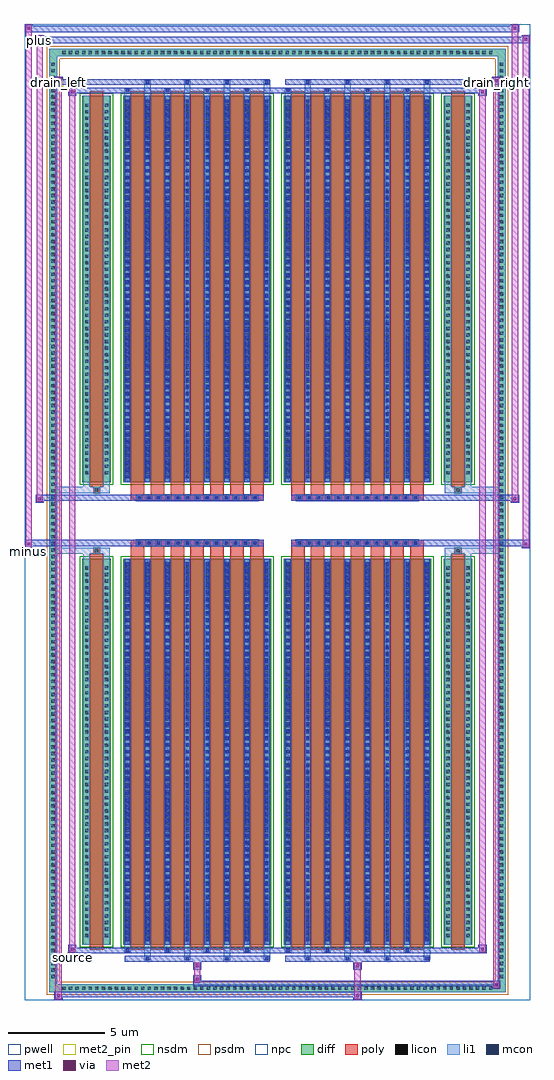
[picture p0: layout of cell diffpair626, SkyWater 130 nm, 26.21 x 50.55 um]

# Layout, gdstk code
import gdstk
lib = gdstk.Library(unit=1e-6, precision=5e-09)
def R(c, l, rs):  # rectangles x0, y0, x1, y1
    for r in rs: c.add(gdstk.rectangle(r[:2], r[2:], *l))
def A(c, l, x, y, w, h, nx, ny, dx, dy):  # array of equal rectangles
    R(c, l, [(x+i*dx, y+j*dy, x+i*dx+w, y+j*dy+h) for i in range(nx) for j in range(ny)])
def P(c, l, *ps):  # polygons
    for p in ps: c.add(gdstk.Polygon(p, *l))
pwell = (64, 44)
diff = (65, 20)
poly = (66, 20)
licon = (66, 44)
li1 = (67, 20)
mcon = (67, 44)
met1 = (68, 20)
via = (68, 44)
met2_pin = (69, 16)
met2 = (69, 20)
nsdm = (93, 44)
psdm = (94, 20)
npc = (95, 20)

diffpair626 = lib.new_cell('diffpair626')
R(diffpair626, pwell, [(-13.09,-24.84,13.09,25.71), (-10.41,-23.03,-0.01,-0.805), (0.01,-23.03,10.41,-0.805), (-10.41,0.805,-0.01,23.03), (0.01,0.805,10.41,23.03)])
A(diffpair626, diff, -11.255, -24.44, 0.41, 0.41, 66, 2, 0.34, 48.47)
A(diffpair626, diff, -11.82, -23.835, 0.41, 0.41, 1, 140, 0, 0.34)
A(diffpair626, diff, 11.41, -23.835, 0.41, 0.41, 1, 140, 0, 0.34)
R(diffpair626, diff, [(-11.255,-24.44,11.255,-24.03), (-11.82,-23.835,-11.41,23.835), (11.41,-23.835,11.82,23.835), (-10.1,-21.985,-8.62,-1.985), (-7.98,-21.985,-0.32,-1.985), (0.32,-21.985,7.98,-1.985), (8.62,-21.985,10.1,-1.985), (-10.1,1.985,-8.62,21.985), (-7.98,1.985,-0.32,21.985), (0.32,1.985,7.98,21.985), (8.62,1.985,10.1,21.985), (-11.255,24.03,11.255,24.44)])
P(diffpair626, diff, [(11.82,24.44),(-11.82,24.44),(-11.82,-24.03),(-11.41,-24.03),(-11.41,24.03),(11.41,24.03),(11.41,-24.03),(-11.41,-24.03),(-11.82,-24.03),(-11.82,-24.44),(11.82,-24.44)])
A(diffpair626, poly, -7.59, -22.235, 0.7, 20.5, 7, 2, 1.03, 23.97)
A(diffpair626, poly, 0.71, -22.235, 0.7, 20.5, 7, 2, 1.03, 23.97)
A(diffpair626, poly, -7.59, -1.735, 0.7, 0.4, 7, 2, 1.03, 3.07)
A(diffpair626, poly, 0.71, -1.735, 0.7, 0.4, 7, 2, 1.03, 3.07)
A(diffpair626, poly, -7.315, -1.335, 0.33, 0.33, 13, 2, 0.5, 2.34)
A(diffpair626, poly, 0.985, -1.335, 0.33, 0.33, 13, 2, 0.5, 2.34)
R(diffpair626, poly, [(-9.71,-22.235,-9.01,-1.735), (9.01,-22.235,9.71,-1.735), (-9.525,-1.735,-9.195,-1.405), (-9.525,-1.735,-9.195,-1.405), (9.195,-1.735,9.525,-1.405), (9.195,-1.735,9.525,-1.405), (-7.59,-1.335,-0.71,-1.005), (0.71,-1.335,7.59,-1.005), (-7.59,1.005,-0.71,1.335), (0.71,1.005,7.59,1.335), (-9.525,1.405,-9.195,1.735), (-9.525,1.405,-9.195,1.735), (9.195,1.405,9.525,1.735), (9.195,1.405,9.525,1.735), (-9.71,1.735,-9.01,22.235), (9.01,1.735,9.71,22.235)])
A(diffpair626, licon, -11.135, -24.32, 0.17, 0.17, 66, 2, 0.34, 48.47)
A(diffpair626, licon, -11.7, -23.715, 0.17, 0.17, 1, 140, 0, 0.34)
A(diffpair626, licon, 11.53, -23.715, 0.17, 0.17, 1, 140, 0, 0.34)
A(diffpair626, licon, -9.96, -21.59, 0.17, 0.17, 1, 57, 0, 0.34)
A(diffpair626, licon, -8.93, -21.59, 0.17, 0.17, 1, 57, 0, 0.34)
A(diffpair626, licon, -7.84, -21.59, 0.17, 0.17, 8, 57, 1.03, 0.34)
A(diffpair626, licon, 0.46, -21.59, 0.17, 0.17, 8, 57, 1.03, 0.34)
A(diffpair626, licon, 8.76, -21.59, 0.17, 0.17, 1, 57, 0, 0.34)
A(diffpair626, licon, 9.79, -21.59, 0.17, 0.17, 1, 57, 0, 0.34)
A(diffpair626, licon, -7.235, -1.255, 0.17, 0.17, 13, 2, 0.5, 2.34)
A(diffpair626, licon, 1.065, -1.255, 0.17, 0.17, 13, 2, 0.5, 2.34)
A(diffpair626, licon, -9.96, 2.38, 0.17, 0.17, 1, 57, 0, 0.34)
A(diffpair626, licon, -8.93, 2.38, 0.17, 0.17, 1, 57, 0, 0.34)
A(diffpair626, licon, -7.84, 2.38, 0.17, 0.17, 8, 57, 1.03, 0.34)
A(diffpair626, licon, 0.46, 2.38, 0.17, 0.17, 8, 57, 1.03, 0.34)
A(diffpair626, licon, 8.76, 2.38, 0.17, 0.17, 1, 57, 0, 0.34)
A(diffpair626, licon, 9.79, 2.38, 0.17, 0.17, 1, 57, 0, 0.34)
R(diffpair626, licon, [(-9.445,-1.655,-9.275,-1.485), (9.275,-1.655,9.445,-1.485), (-9.445,1.485,-9.275,1.655), (9.275,1.485,9.445,1.655)])
A(diffpair626, li1, -11.215, -24.4, 0.33, 0.33, 66, 2, 0.34, 48.47)
A(diffpair626, li1, -11.78, -23.795, 0.33, 0.33, 1, 140, 0, 0.34)
A(diffpair626, li1, 11.45, -23.795, 0.33, 0.33, 1, 140, 0, 0.34)
A(diffpair626, li1, -6.89, -22.79, 0.33, 0.805, 4, 2, 2.06, 44.775)
A(diffpair626, li1, -6.81, -22.79, 0.17, 0.17, 4, 2, 2.06, 45.41)
A(diffpair626, li1, 1.41, -22.79, 0.33, 0.805, 4, 2, 2.06, 44.775)
A(diffpair626, li1, 1.49, -22.79, 0.17, 0.17, 4, 2, 2.06, 45.41)
A(diffpair626, li1, -7.92, -22.36, 0.33, 0.375, 4, 2, 2.06, 44.345)
A(diffpair626, li1, -7.84, -22.36, 0.17, 0.17, 4, 2, 2.06, 44.55)
A(diffpair626, li1, 0.38, -22.36, 0.33, 0.375, 4, 2, 2.06, 44.345)
A(diffpair626, li1, 0.46, -22.36, 0.17, 0.17, 4, 2, 2.06, 44.55)
A(diffpair626, li1, -7.92, -21.985, 0.33, 20, 8, 2, 1.03, 23.97)
A(diffpair626, li1, 0.38, -21.985, 0.33, 20, 8, 2, 1.03, 23.97)
A(diffpair626, li1, -7.84, -21.79, 0.17, 0.17, 8, 55, 1.03, 0.36)
A(diffpair626, li1, -7.84, -21.79, 0.17, 19.61, 8, 2, 1.03, 23.97)
A(diffpair626, li1, 0.46, -21.79, 0.17, 0.17, 8, 55, 1.03, 0.36)
A(diffpair626, li1, 0.46, -21.79, 0.17, 19.61, 8, 2, 1.03, 23.97)
A(diffpair626, li1, -10.04, -21.67, 0.33, 0.33, 1, 57, 0, 0.34)
A(diffpair626, li1, -9.01, -21.67, 0.33, 0.33, 1, 57, 0, 0.34)
A(diffpair626, li1, -7.92, -21.67, 0.33, 0.33, 8, 57, 1.03, 0.34)
A(diffpair626, li1, 0.38, -21.67, 0.33, 0.33, 8, 57, 1.03, 0.34)
A(diffpair626, li1, 8.68, -21.67, 0.33, 0.33, 1, 57, 0, 0.34)
A(diffpair626, li1, 9.71, -21.67, 0.33, 0.33, 1, 57, 0, 0.34)
A(diffpair626, li1, -7.315, -1.335, 0.33, 0.33, 13, 2, 0.5, 2.34)
A(diffpair626, li1, 0.985, -1.335, 0.33, 0.33, 13, 2, 0.5, 2.34)
A(diffpair626, li1, -7.84, 2.18, 0.17, 0.17, 8, 55, 1.03, 0.36)
A(diffpair626, li1, 0.46, 2.18, 0.17, 0.17, 8, 55, 1.03, 0.36)
A(diffpair626, li1, -10.04, 2.3, 0.33, 0.33, 1, 57, 0, 0.34)
A(diffpair626, li1, -9.01, 2.3, 0.33, 0.33, 1, 57, 0, 0.34)
A(diffpair626, li1, -7.92, 2.3, 0.33, 0.33, 8, 57, 1.03, 0.34)
A(diffpair626, li1, 0.38, 2.3, 0.33, 0.33, 8, 57, 1.03, 0.34)
A(diffpair626, li1, 8.68, 2.3, 0.33, 0.33, 1, 57, 0, 0.34)
A(diffpair626, li1, 9.71, 2.3, 0.33, 0.33, 1, 57, 0, 0.34)
R(diffpair626, li1, [(-11.82,-24.44,-11.41,-24.03), (-11.82,-24.44,-11.41,-24.03), (-11.41,-24.44,11.41,-24.03), (11.41,-24.44,11.82,-24.03), (11.41,-24.44,11.82,-24.03), (-11.82,-24.03,-11.41,24.03), (11.41,-24.03,11.82,24.03), (-10.04,-21.985,-9.71,-1.985), (-9.01,-21.985,-8.68,-1.985), (8.68,-21.985,9.01,-1.985), (9.71,-21.985,10.04,-1.985), (-10.04,-1.985,-9.71,-1.405), (-9.01,-1.985,-8.68,-1.405), (8.68,-1.985,9.01,-1.405), (9.71,-1.985,10.04,-1.405), (-11.82,-1.735,-9.525,-1.405), (-10.04,-1.735,-9.525,-1.405), (-9.525,-1.735,-9.195,-1.405), (-9.195,-1.735,-8.68,-1.405), (8.68,-1.735,9.195,-1.405), (9.195,-1.735,9.525,-1.405), (9.195,-1.735,11.82,-1.405), (9.525,-1.735,10.04,-1.405), (-11.82,1.405,-9.525,1.735), (-10.04,1.405,-9.525,1.735), (-10.04,1.405,-9.71,1.985), (-9.525,1.405,-9.195,1.735), (-9.195,1.405,-8.68,1.735), (-9.01,1.405,-8.68,1.985), (8.68,1.405,9.195,1.735), (8.68,1.405,9.01,1.985), (9.195,1.405,9.525,1.735), (9.195,1.405,11.82,1.735), (9.525,1.405,10.04,1.735), (9.71,1.405,10.04,1.985), (-10.04,1.985,-9.71,21.985), (-9.01,1.985,-8.68,21.985), (8.68,1.985,9.01,21.985), (9.71,1.985,10.04,21.985), (-11.82,24.03,-11.41,24.44), (-11.82,24.03,-11.41,24.44), (-11.41,24.03,11.41,24.44), (11.41,24.03,11.82,24.44), (11.41,24.03,11.82,24.44)])
A(diffpair626, mcon, -6.81, -22.79, 0.17, 0.17, 4, 2, 2.06, 45.41)
A(diffpair626, mcon, 1.49, -22.79, 0.17, 0.17, 4, 2, 2.06, 45.41)
A(diffpair626, mcon, -7.84, -22.36, 0.17, 0.17, 4, 2, 2.06, 44.55)
A(diffpair626, mcon, 0.46, -22.36, 0.17, 0.17, 4, 2, 2.06, 44.55)
A(diffpair626, mcon, -7.84, -21.79, 0.17, 0.17, 8, 55, 1.03, 0.36)
A(diffpair626, mcon, 0.46, -21.79, 0.17, 0.17, 8, 55, 1.03, 0.36)
A(diffpair626, mcon, -7.235, -1.255, 0.17, 0.17, 13, 2, 0.5, 2.34)
A(diffpair626, mcon, 1.065, -1.255, 0.17, 0.17, 13, 2, 0.5, 2.34)
A(diffpair626, mcon, -7.84, 2.18, 0.17, 0.17, 8, 55, 1.03, 0.36)
A(diffpair626, mcon, 0.46, 2.18, 0.17, 0.17, 8, 55, 1.03, 0.36)
A(diffpair626, met1, -6.87, -22.85, 0.29, 0.29, 4, 2, 2.06, 45.41)
A(diffpair626, met1, 1.43, -22.85, 0.29, 0.29, 4, 2, 2.06, 45.41)
A(diffpair626, met1, -7.9, -22.42, 0.29, 0.29, 4, 2, 2.06, 44.55)
A(diffpair626, met1, 0.4, -22.42, 0.29, 0.29, 4, 2, 2.06, 44.55)
A(diffpair626, met1, -7.9, -21.985, 0.29, 20, 8, 2, 1.03, 23.97)
A(diffpair626, met1, 0.4, -21.985, 0.29, 20, 8, 2, 1.03, 23.97)
A(diffpair626, met1, -7.9, -21.85, 0.29, 0.29, 8, 55, 1.03, 0.36)
A(diffpair626, met1, 0.4, -21.85, 0.29, 0.29, 8, 55, 1.03, 0.36)
A(diffpair626, met1, -7.295, -1.315, 0.29, 0.29, 13, 2, 0.5, 2.34)
A(diffpair626, met1, 1.005, -1.315, 0.29, 0.29, 13, 2, 0.5, 2.34)
A(diffpair626, met1, -7.9, 2.12, 0.29, 0.29, 8, 55, 1.03, 0.36)
A(diffpair626, met1, 0.4, 2.12, 0.29, 0.29, 8, 55, 1.03, 0.36)
R(diffpair626, met1, [(-11.55,-24.84,-11.12,-24.41), (3.935,-24.84,4.365,-24.41), (-11.55,-24.7,4.365,-24.41), (11.12,-24.27,11.55,-23.84), (-4.365,-24.13,11.55,-23.84), (-4.365,-23.99,-3.935,-23.56), (-4.365,-23.28,-3.935,-22.85), (3.935,-23.28,4.365,-22.85), (-7.9,-22.85,-0.4,-22.56), (0.4,-22.85,7.9,-22.56), (-10.84,-22.42,-10.41,-21.99), (-10.84,-22.42,-7.9,-22.13), (-7.9,-22.42,-0.4,-22.13), (-0.4,-22.42,0.4,-22.13), (0.4,-22.42,7.9,-22.13), (7.9,-22.42,10.84,-22.13), (10.41,-22.42,10.84,-21.99), (-13.09,-1.435,-12.66,-1.005), (12.66,-1.435,13.09,-1.005), (-13.09,-1.335,-0.71,-1.005), (-7.59,-1.335,-0.71,-1.005), (0.71,-1.335,7.59,-1.005), (0.71,-1.335,13.09,-1.005), (-12.52,0.905,-12.09,1.335), (12.09,0.905,12.52,1.335), (-12.52,1.005,-7.59,1.335), (-7.59,1.005,-0.71,1.335), (0.71,1.005,7.59,1.335), (7.59,1.005,12.52,1.335), (-10.84,21.99,-10.41,22.42), (10.41,21.99,10.84,22.42), (-10.84,22.13,-7.9,22.42), (-7.9,22.13,-0.4,22.42), (-0.4,22.13,0.4,22.42), (0.4,22.13,7.9,22.42), (7.9,22.13,10.84,22.42), (-11.55,22.56,-11.12,22.99), (-11.55,22.56,-7.9,22.85), (-7.9,22.56,-0.4,22.85), (0.4,22.56,7.9,22.85), (7.9,22.56,11.55,22.85), (11.12,22.56,11.55,22.99), (-12.52,24.71,-12.09,25.14), (-12.52,24.71,-10.41,25.04), (-10.41,24.71,10.41,25.04), (10.41,24.71,13.09,25.04), (12.66,24.71,13.09,25.14), (-13.09,25.28,-12.66,25.71), (-13.09,25.28,-10.41,25.61), (-10.41,25.28,10.41,25.61), (10.41,25.28,12.52,25.61), (12.09,25.28,12.52,25.71)])
R(diffpair626, via, [(-11.41,-24.7,-11.26,-24.55), (4.075,-24.7,4.225,-24.55), (11.26,-24.13,11.41,-23.98), (-4.225,-23.85,-4.075,-23.7), (-4.225,-23.14,-4.075,-22.99), (4.075,-23.14,4.225,-22.99), (-10.7,-22.28,-10.55,-22.13), (10.55,-22.28,10.7,-22.13), (-12.95,-1.295,-12.8,-1.145), (12.8,-1.295,12.95,-1.145), (-12.38,1.045,-12.23,1.195), (12.23,1.045,12.38,1.195), (-10.7,22.13,-10.55,22.28), (10.55,22.13,10.7,22.28), (-11.41,22.7,-11.26,22.85), (11.26,22.7,11.41,22.85), (-12.38,24.85,-12.23,25), (12.8,24.85,12.95,25), (-12.95,25.42,-12.8,25.57), (12.23,25.42,12.38,25.57)])
R(diffpair626, met2_pin, [(-10.875,-22.87,-10.375,-22.37), (-13.125,-1.885,-12.625,-1.385), (-11.585,22.44,-11.085,22.94), (11.085,22.44,11.585,22.94), (-12.555,24.59,-12.055,25.09)])
R(diffpair626, met2, [(-11.5,-24.79,-11.17,-24.46), (-11.5,-24.79,-11.17,22.94), (3.985,-24.79,4.315,-24.46), (3.985,-24.46,4.315,-23.23), (11.17,-24.22,11.5,-23.89), (11.17,-24.22,11.5,22.94), (-4.315,-23.94,-3.985,-23.61), (-4.315,-23.61,-3.985,-23.23), (-4.315,-23.23,-3.985,-22.9), (3.985,-23.23,4.315,-22.9), (-10.79,-22.37,-10.46,-22.04), (-10.79,-22.37,-10.46,22.37), (10.46,-22.37,10.79,-22.04), (10.46,-22.37,10.79,22.37), (-13.04,-1.385,-12.71,-1.055), (-13.04,-1.385,-12.71,25.66), (12.71,-1.385,13.04,-1.055), (12.71,-1.385,13.04,25.09), (-12.47,0.955,-12.14,1.285), (-12.47,0.955,-12.14,25.09), (12.14,0.955,12.47,1.285), (12.14,0.955,12.47,25.66), (-10.79,22.04,-10.46,22.37), (10.46,22.04,10.79,22.37), (-11.5,22.61,-11.17,22.94), (11.17,22.61,11.5,22.94), (-12.47,24.76,-12.14,25.09), (12.71,24.76,13.04,25.09), (-13.04,25.33,-12.71,25.66), (12.14,25.33,12.47,25.66)])
P(diffpair626, met2, [(13.04,-1.385),(13.04,-1.385),(13.04,-1.055),(13.04,-1.055)],
  [(13.04,24.76),(13.04,24.76),(13.04,25.09),(13.04,25.09)],
  [(-12.71,-1.385),(-12.71,-1.385),(-12.71,-1.055),(-12.71,-1.055)],
  [(-12.71,25.33),(-12.71,25.33),(-12.71,25.66),(-12.71,25.66)],
  [(12.47,0.955),(12.47,0.955),(12.47,1.285),(12.47,1.285)],
  [(12.47,25.33),(12.47,25.33),(12.47,25.66),(12.47,25.66)],
  [(-12.14,0.955),(-12.14,0.955),(-12.14,1.285),(-12.14,1.285)],
  [(-12.14,24.76),(-12.14,24.76),(-12.14,25.09),(-12.14,25.09)],
  [(-11.17,-24.79),(-11.17,-24.79),(-11.17,-24.46),(-11.17,-24.46)],
  [(-11.17,22.61),(-11.17,22.61),(-11.17,22.94),(-11.17,22.94)],
  [(11.5,-24.22),(11.5,-24.22),(11.5,-23.89),(11.5,-23.89)],
  [(11.5,22.61),(11.5,22.61),(11.5,22.94),(11.5,22.94)],
  [(-10.46,-22.37),(-10.46,-22.37),(-10.46,-22.04),(-10.46,-22.04)],
  [(-10.46,22.04),(-10.46,22.04),(-10.46,22.37),(-10.46,22.37)],
  [(10.79,-22.37),(10.79,-22.37),(10.79,-22.04),(10.79,-22.04)],
  [(10.79,22.04),(10.79,22.04),(10.79,22.37),(10.79,22.37)])
R(diffpair626, nsdm, [(-10.23,-22.115,-8.49,-1.855), (-8.11,-22.115,-0.19,-1.855), (0.19,-22.115,8.11,-1.855), (8.49,-22.115,10.23,-1.855), (-10.23,1.855,-8.49,22.115), (-8.11,1.855,-0.19,22.115), (0.19,1.855,8.11,22.115), (8.49,1.855,10.23,22.115)])
P(diffpair626, psdm, [(11.95,24.57),(-11.95,24.57),(-11.95,-23.9),(-11.28,-23.9),(-11.28,23.9),(11.28,23.9),(11.28,-23.9),(-11.28,-23.9),(-11.95,-23.9),(-11.95,-24.57),(11.95,-24.57)])
A(diffpair626, npc, -7.335, -1.355, 0.37, 0.37, 13, 2, 0.5, 2.34)
A(diffpair626, npc, 0.965, -1.355, 0.37, 0.37, 13, 2, 0.5, 2.34)
R(diffpair626, npc, [(-9.545,-1.755,-9.175,-1.385), (9.175,-1.755,9.545,-1.385), (-7.335,-1.355,-6.465,-0.985), (-7.335,-1.355,-6.465,-0.985), (-6.835,-1.355,-5.965,-0.985), (-6.835,-1.355,-5.965,-0.985), (-6.335,-1.355,-5.465,-0.985), (-6.335,-1.355,-5.465,-0.985), (-5.835,-1.355,-4.965,-0.985), (-5.835,-1.355,-4.965,-0.985), (-5.335,-1.355,-4.465,-0.985), (-5.335,-1.355,-4.465,-0.985), (-4.835,-1.355,-3.965,-0.985), (-4.835,-1.355,-3.965,-0.985), (-4.335,-1.355,-3.465,-0.985), (-4.335,-1.355,-3.465,-0.985), (-3.835,-1.355,-2.965,-0.985), (-3.835,-1.355,-2.965,-0.985), (-3.335,-1.355,-2.465,-0.985), (-3.335,-1.355,-2.465,-0.985), (-2.835,-1.355,-1.965,-0.985), (-2.835,-1.355,-1.965,-0.985), (-2.335,-1.355,-1.465,-0.985), (-2.335,-1.355,-1.465,-0.985), (-1.835,-1.355,-0.965,-0.985), (-1.835,-1.355,-0.965,-0.985), (0.965,-1.355,1.835,-0.985), (0.965,-1.355,1.835,-0.985), (1.465,-1.355,2.335,-0.985), (1.465,-1.355,2.335,-0.985), (1.965,-1.355,2.835,-0.985), (1.965,-1.355,2.835,-0.985), (2.465,-1.355,3.335,-0.985), (2.465,-1.355,3.335,-0.985), (2.965,-1.355,3.835,-0.985), (2.965,-1.355,3.835,-0.985), (3.465,-1.355,4.335,-0.985), (3.465,-1.355,4.335,-0.985), (3.965,-1.355,4.835,-0.985), (3.965,-1.355,4.835,-0.985), (4.465,-1.355,5.335,-0.985), (4.465,-1.355,5.335,-0.985), (4.965,-1.355,5.835,-0.985), (4.965,-1.355,5.835,-0.985), (5.465,-1.355,6.335,-0.985), (5.465,-1.355,6.335,-0.985), (5.965,-1.355,6.835,-0.985), (5.965,-1.355,6.835,-0.985), (6.465,-1.355,7.335,-0.985), (6.465,-1.355,7.335,-0.985), (-7.335,0.985,-6.465,1.355), (-7.335,0.985,-6.465,1.355), (-6.835,0.985,-5.965,1.355), (-6.835,0.985,-5.965,1.355), (-6.335,0.985,-5.465,1.355), (-6.335,0.985,-5.465,1.355), (-5.835,0.985,-4.965,1.355), (-5.835,0.985,-4.965,1.355), (-5.335,0.985,-4.465,1.355), (-5.335,0.985,-4.465,1.355), (-4.835,0.985,-3.965,1.355), (-4.835,0.985,-3.965,1.355), (-4.335,0.985,-3.465,1.355), (-4.335,0.985,-3.465,1.355), (-3.835,0.985,-2.965,1.355), (-3.835,0.985,-2.965,1.355), (-3.335,0.985,-2.465,1.355), (-3.335,0.985,-2.465,1.355), (-2.835,0.985,-1.965,1.355), (-2.835,0.985,-1.965,1.355), (-2.335,0.985,-1.465,1.355), (-2.335,0.985,-1.465,1.355), (-1.835,0.985,-0.965,1.355), (-1.835,0.985,-0.965,1.355), (0.965,0.985,1.835,1.355), (0.965,0.985,1.835,1.355), (1.465,0.985,2.335,1.355), (1.465,0.985,2.335,1.355), (1.965,0.985,2.835,1.355), (1.965,0.985,2.835,1.355), (2.465,0.985,3.335,1.355), (2.465,0.985,3.335,1.355), (2.965,0.985,3.835,1.355), (2.965,0.985,3.835,1.355), (3.465,0.985,4.335,1.355), (3.465,0.985,4.335,1.355), (3.965,0.985,4.835,1.355), (3.965,0.985,4.835,1.355), (4.465,0.985,5.335,1.355), (4.465,0.985,5.335,1.355), (4.965,0.985,5.835,1.355), (4.965,0.985,5.835,1.355), (5.465,0.985,6.335,1.355), (5.465,0.985,6.335,1.355), (5.965,0.985,6.835,1.355), (5.965,0.985,6.835,1.355), (6.465,0.985,7.335,1.355), (6.465,0.985,7.335,1.355), (-9.545,1.385,-9.175,1.755), (9.175,1.385,9.545,1.755)])
diffpair626.add(gdstk.Label('minus', (-12.875,-1.635), layer=69, texttype=5))
diffpair626.add(gdstk.Label('drain_right', (11.335,22.69), layer=69, texttype=5))
diffpair626.add(gdstk.Label('drain_left', (-11.335,22.69), layer=69, texttype=5))
diffpair626.add(gdstk.Label('source', (-10.625,-22.62), layer=69, texttype=5))
diffpair626.add(gdstk.Label('plus', (-12.305,24.84), layer=69, texttype=5))

lib.write_gds('diffpair626.gds')
